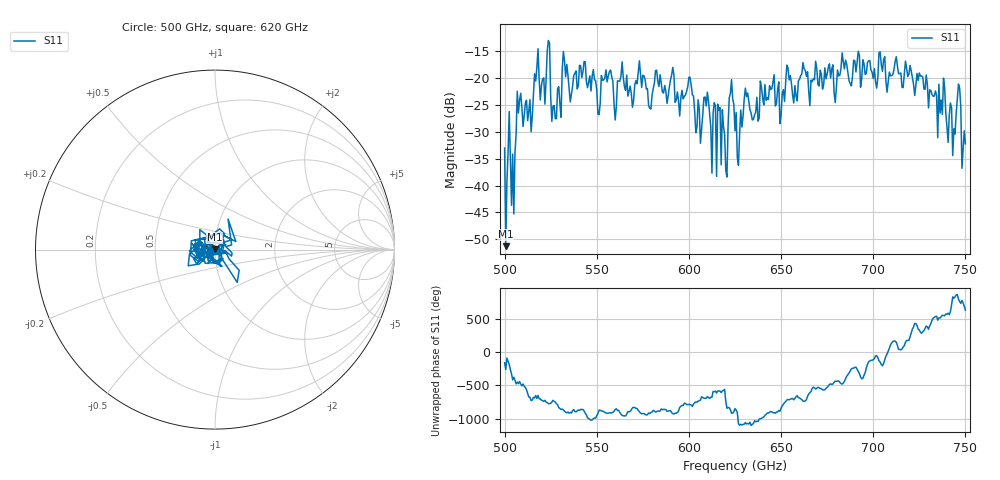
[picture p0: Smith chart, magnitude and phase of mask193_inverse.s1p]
!Created with skrf (http://scikit-rf.org).
# GHz S MA R 50.0
!freq magS11 angS11
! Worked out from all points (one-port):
!   401 points, 500 GHz to 750 GHz, reference 50 ohm
!   lowest |S11| = -51.2 dB at 500.6 GHz (marker M1), VSWR 1.01, Z = 50 + j0.273 ohm
!   |S11| at or under -10 dB: start of sweep to end of sweep
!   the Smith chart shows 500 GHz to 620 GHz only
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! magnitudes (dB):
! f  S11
! 500 GHz  -33.1
! 500.6 GHz  -51.2
! 505 GHz  -45.3
! 508.1 GHz  -24.2
! 513.8 GHz  -24.1
! 517.5 GHz  -18.1
! 520.6 GHz  -20.3
! 523.8 GHz  -13.1
! 526.9 GHz  -25.2
! 531.2 GHz  -18.5
! 542.5 GHz  -19.0
! 550.6 GHz  -26.7
! 562.5 GHz  -20.6
! 578.8 GHz  -25.7
! 590.6 GHz  -19.5
! 593.8 GHz  -22.7
! 600.6 GHz  -20.0
! 605 GHz  -24.1
! 609.4 GHz  -25.2
! 620 GHz  -37.2
! 623.1 GHz  -20.4
! 625 GHz  -29.9
! 656.2 GHz  -23.3
! 687.5 GHz  -21.1
! 718.8 GHz  -19.8
! 743.8 GHz  -29.5
! 746.2 GHz  -21.2
! 750 GHz  -32.3
